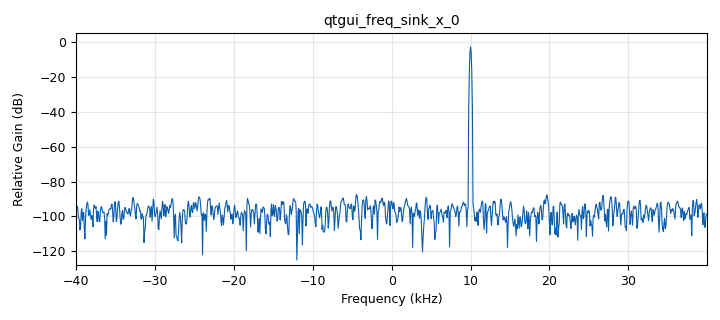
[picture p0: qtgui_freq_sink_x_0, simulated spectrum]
options:
  parameters:
    author: sten
    generate_options: qt_gui
    id: Labo_7
    output_language: python
    title: Oefening 1
  states: {}

blocks:
- name: jitter
  id: variable_qtgui_range
  parameters:
    start: '-4'
    step: '0.2'
    stop: '2'
    value: '-3'
  states: {}
- name: samp_rate
  id: variable
  parameters:
    value: 80e3
  states: {}
- name: analog_sig_source_x_0
  id: analog_sig_source_x
  parameters:
    amp: '1'
    freq: 10e3
    offset: '0'
    phase: '0'
    samp_rate: samp_rate
    type: complex
    waveform: analog.GR_COS_WAVE
  states: {}
- name: analog_sig_source_x_0_0
  id: analog_sig_source_x
  parameters:
    amp: '1'
    freq: 10e3
    offset: '0'
    phase: '0'
    samp_rate: samp_rate
    type: complex
    waveform: analog.GR_SIN_WAVE
  states: {}
- name: blocks_add_xx_0
  id: blocks_add_xx
  parameters:
    type: complex
  states: {}
- name: blocks_throttle2_0
  id: blocks_throttle2
  parameters:
    samples_per_second: samp_rate
    type: complex
  states: {}
- name: channels_channel_model_0
  id: channels_channel_model
  parameters:
    epsilon: '1.0'
    freq_offset: '0.0'
    noise_voltage: 10**jitter
    seed: '0'
    taps: '1.0'
  states: {}
- name: qtgui_freq_sink_x_0
  id: qtgui_freq_sink_x
  parameters:
    autoscale: 'True'
    bw: samp_rate
    fc: '0'
    fftsize: '1024'
    type: complex
  states: {}

connections:
- [analog_sig_source_x_0, '0', blocks_add_xx_0, '0']
- [analog_sig_source_x_0_0, '0', blocks_add_xx_0, '1']
- [blocks_add_xx_0, '0', blocks_throttle2_0, '0']
- [blocks_throttle2_0, '0', channels_channel_model_0, '0']
- [channels_channel_model_0, '0', qtgui_freq_sink_x_0, '0']

metadata:
  file_format: 1
  grc_version: 3.10.7.0
